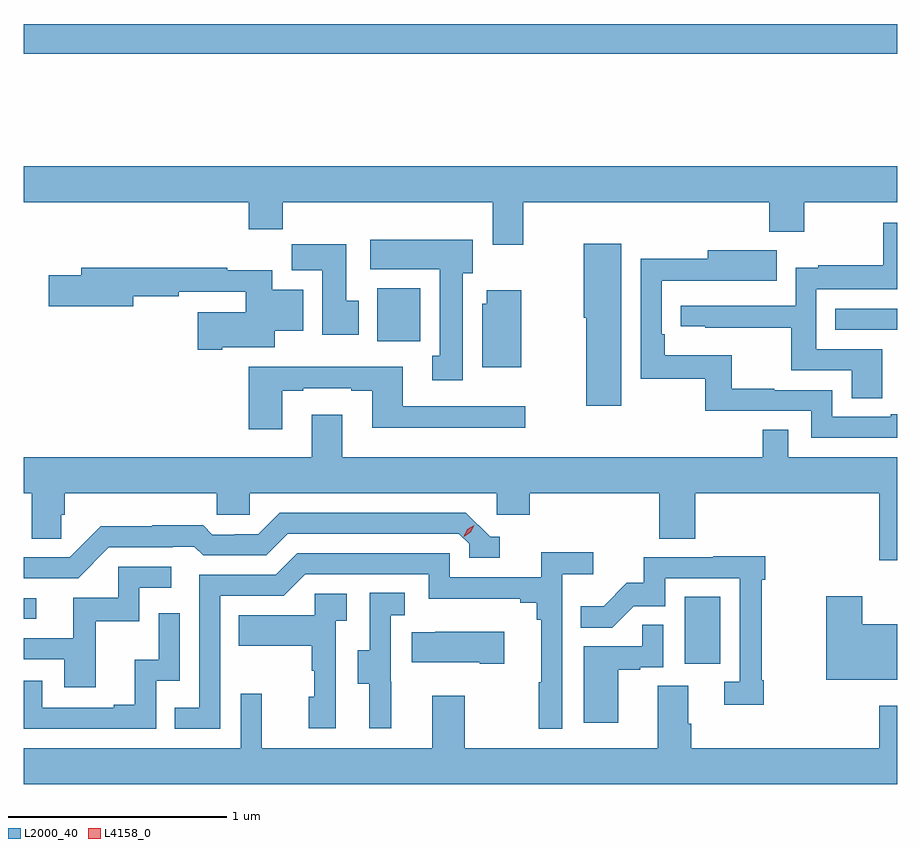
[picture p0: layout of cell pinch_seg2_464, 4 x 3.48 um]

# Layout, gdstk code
import gdstk
lib = gdstk.Library(unit=1e-6, precision=1e-09)
def R(c, l, rs):  # rectangles x0, y0, x1, y1
    for r in rs: c.add(gdstk.rectangle(r[:2], r[2:], *l))
def P(c, l, *ps):  # polygons
    for p in ps: c.add(gdstk.Polygon(p, *l))
L2000_40 = (2000, 40)
L4158_0 = (4158, 0)

pinch_seg2_464 = lib.new_cell('pinch_seg2_464')
R(pinch_seg2_464, L2000_40, [(935.702,598.902,935.866,599.209), (932.676,599.109,932.734,599.202), (934.295,600.38,934.492,600.622), (936.391,600.432,936.676,600.528), (932.676,601.696,936.676,601.832)])
P(pinch_seg2_464, L2000_40, [(934.963,601.016),(936.089,601.016),(936.089,600.881),(936.249,600.881),(936.249,601.016),(936.676,601.016),(936.676,601.18),(932.676,601.18),(932.676,601.016),(933.707,601.016),(933.707,600.892),(933.863,600.892),(933.863,601.016),(934.823,601.016),(934.823,600.822),(934.963,600.822)],
  [(936.607,600.342),(936.306,600.342),(936.306,600.618),(936.676,600.618),(936.676,600.921),(936.612,600.921),(936.612,600.727),(936.313,600.727),(936.313,600.715),(936.21,600.715),(936.21,600.543),(935.685,600.543),(935.685,600.447),(935.797,600.447),(935.797,600.442),(936.19,600.442),(936.19,600.246),(936.467,600.246),(936.467,600.118),(936.607,600.118)],
  [(934.687,600.69),(934.732,600.69),(934.732,600.844),(934.263,600.844),(934.263,600.71),(934.58,600.71),(934.58,600.314),(934.547,600.314),(934.547,600.201),(934.687,600.201)],
  [(935.413,600.826),(935.24,600.826),(935.24,600.486),(935.252,600.486),(935.252,600.084),(935.413,600.084)],
  [(934.21,600.564),(934.153,600.564),(934.153,600.823),(933.904,600.823),(933.904,600.704),(934.043,600.704),(934.043,600.408),(934.21,600.408)],
  [(936.676,600.046),(936.647,600.046),(936.647,600.033),(936.378,600.033),(936.378,600.156),(936.113,600.156),(936.113,600.161),(935.917,600.161),(935.917,600.316),(935.612,600.316),(935.612,600.412),(935.598,600.412),(935.598,600.657),(935.911,600.657),(935.911,600.656),(936.125,600.656),(936.125,600.796),(935.807,600.796),(935.807,600.758),(935.502,600.758),(935.502,600.207),(935.796,600.207),(935.796,600.06),(936.282,600.06),(936.282,599.937),(936.676,599.937)],
  [(933.586,600.353),(933.826,600.353),(933.826,600.428),(933.955,600.428),(933.955,600.616),(933.814,600.616),(933.814,600.704),(933.608,600.704),(933.608,600.715),(932.939,600.715),(932.939,600.681),(932.79,600.681),(932.79,600.539),(933.178,600.539),(933.178,600.586),(933.386,600.586),(933.386,600.606),(933.692,600.606),(933.692,600.511),(933.474,600.511),(933.474,600.341),(933.586,600.341)],
  [(934.954,600.613),(934.796,600.613),(934.796,600.552),(934.775,600.552),(934.775,600.26),(934.954,600.26)],
  [(933.859,600.153),(933.955,600.153),(933.955,600.165),(934.175,600.165),(934.175,600.153),(934.271,600.153),(934.271,599.984),(934.972,599.984),(934.972,600.081),(934.411,600.081),(934.411,600.262),(933.707,600.262),(933.707,599.976),(933.859,599.976)],
  [(936.676,599.848),(936.177,599.848),(936.177,599.975),(936.061,599.975),(936.061,599.848),(934.135,599.848),(934.135,600.043),(933.995,600.043),(933.995,599.848),(932.676,599.848),(932.676,599.684),(932.712,599.684),(932.712,599.476),(932.849,599.476),(932.849,599.586),(932.864,599.586),(932.864,599.684),(933.561,599.684),(933.561,599.586),(933.711,599.586),(933.711,599.684),(934.842,599.684),(934.842,599.586),(934.994,599.586),(934.994,599.684),(935.585,599.684),(935.585,599.476),(935.75,599.476),(935.75,599.684),(936.593,599.684),(936.593,599.376),(936.676,599.376)],
  [(933.066,599.436),(933.359,599.436),(933.359,599.439),(933.458,599.439),(933.497,599.4),(933.786,599.4),(933.885,599.499),(934.668,599.499),(934.716,599.451),(934.716,599.388),(934.855,599.388),(934.855,599.484),(934.812,599.484),(934.701,599.595),(933.848,599.595),(933.749,599.496),(933.642,599.496),(933.642,599.493),(933.539,599.493),(933.497,599.536),(933.264,599.536),(933.264,599.533),(933.028,599.533),(932.886,599.391),(932.676,599.391),(932.676,599.295),(932.925,599.295)],
  [(933.576,599.214),(933.867,599.214),(933.966,599.313),(934.53,599.313),(934.53,599.201),(934.949,599.201),(934.949,599.182),(935.026,599.182),(935.026,599.105),(935.045,599.105),(935.045,598.817),(935.034,598.817),(935.034,598.605),(935.142,598.605),(935.142,599.312),(935.284,599.312),(935.284,599.414),(935.045,599.414),(935.045,599.298),(934.626,599.298),(934.626,599.409),(933.929,599.409),(933.83,599.31),(933.48,599.31),(933.48,598.701),(933.367,598.701),(933.367,598.605),(933.576,598.605)],
  [(936.064,598.828),(936.056,598.828),(936.056,599.288),(936.071,599.288),(936.071,599.396),(935.833,599.396),(935.833,599.391),(935.515,599.391),(935.515,599.274),(935.438,599.274),(935.331,599.167),(935.227,599.167),(935.227,599.068),(935.371,599.068),(935.469,599.166),(935.613,599.166),(935.613,599.295),(935.955,599.295),(935.955,598.821),(935.883,598.821),(935.883,598.716),(936.064,598.716)],
  [(933.005,599.097),(933.204,599.097),(933.204,599.25),(933.352,599.25),(933.352,599.346),(933.108,599.346),(933.108,599.205),(932.903,599.205),(932.903,599.019),(932.676,599.019),(932.676,598.923),(932.861,598.923),(932.861,598.794),(933.005,598.794)],
  [(934.358,598.821),(934.356,598.821),(934.356,599.125),(934.42,599.125),(934.42,599.228),(934.26,599.228),(934.26,598.965),(934.205,598.965),(934.205,598.81),(934.259,598.81),(934.259,598.608),(934.358,598.608)],
  [(934.104,599.099),(934.156,599.099),(934.156,599.223),(934.008,599.223),(934.008,599.125),(933.661,599.125),(933.661,598.985),(933.996,598.985),(933.996,598.871),(934.006,598.871),(934.006,598.752),(933.98,598.752),(933.98,598.608),(934.104,598.608)],
  [(936.676,599.083),(936.516,599.083),(936.516,599.212),(936.35,599.212),(936.35,598.829),(936.676,598.829)],
  [(933.282,598.824),(933.39,598.824),(933.39,599.134),(933.294,599.134),(933.294,598.922),(933.185,598.922),(933.185,598.714),(933.089,598.714),(933.089,598.701),(932.76,598.701),(932.76,598.824),(932.676,598.824),(932.676,598.605),(933.282,598.605)],
  [(935.398,598.875),(935.498,598.875),(935.498,598.887),(935.604,598.887),(935.604,599.081),(935.509,599.081),(935.509,598.983),(935.24,598.983),(935.24,598.632),(935.398,598.632)],
  [(934.876,599.05),(934.561,599.05),(934.561,599.047),(934.453,599.047),(934.453,598.91),(934.763,598.91),(934.763,598.903),(934.876,598.903)],
  [(936.676,598.711),(936.593,598.711),(936.593,598.516),(935.732,598.516),(935.732,598.628),(935.719,598.628),(935.719,598.802),(935.579,598.802),(935.579,598.516),(934.695,598.516),(934.695,598.756),(934.547,598.756),(934.547,598.516),(933.767,598.516),(933.767,598.765),(933.669,598.765),(933.669,598.516),(932.676,598.516),(932.676,598.352),(936.676,598.352)])
P(pinch_seg2_464, L4158_0, [(934.691,599.485),(934.691,599.485),(934.708,599.518),(934.739,599.537),(934.739,599.537),(934.739,599.537),(934.722,599.504),(934.692,599.485)])

lib.write_gds('pinch_seg2_464.gds')
